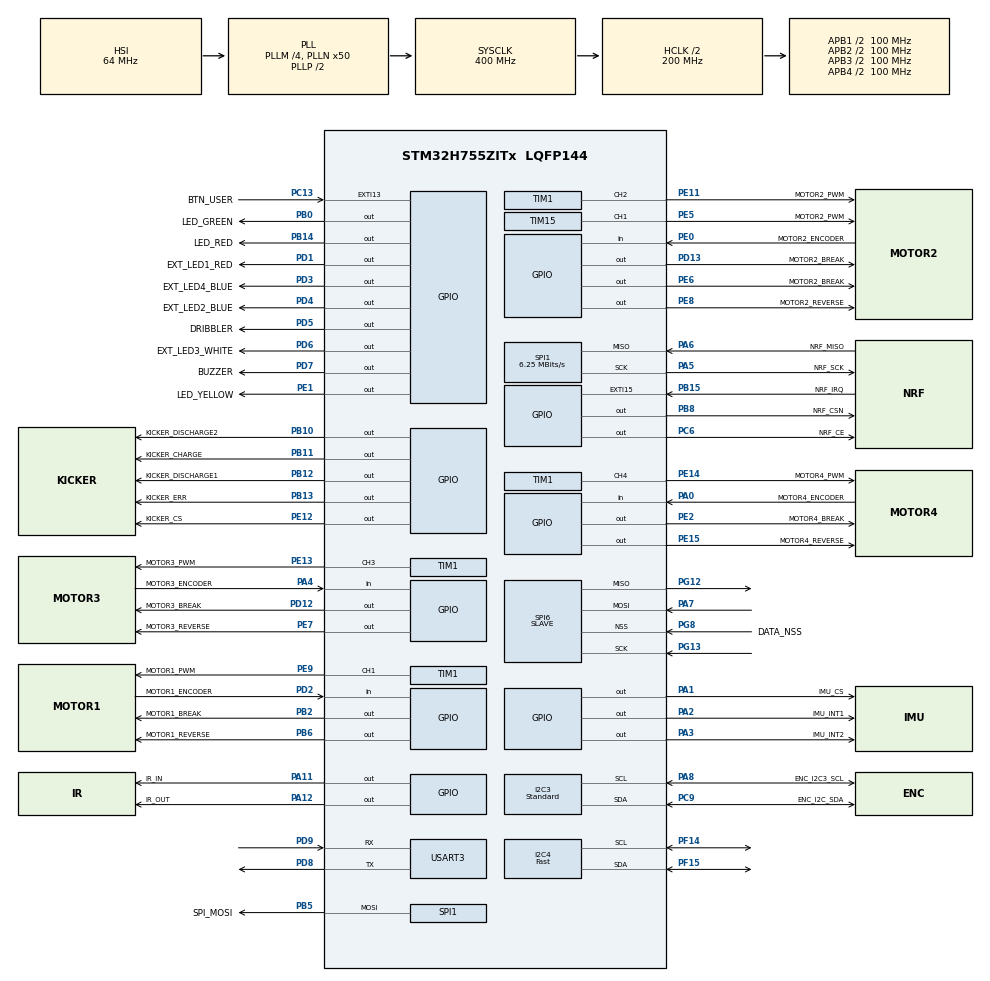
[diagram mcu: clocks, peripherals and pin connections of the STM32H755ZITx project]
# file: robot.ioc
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CortexM4.IPs=CORTEX_M4\:I,DEBUG,FATFS_M4\:I,FREERTOS_M4\:I,IWDG2\:I,OPENAMP_M4\:I,PDM2PCM_M4\:I,PWR,RCC,RESMGR_UTILITY,SYS_M4\:I,USB_DEVICE_M4\:I,USB_HOST_M4\:I,VREFBUF,WWDG2\:I,GPIO,DMA,BDMA,MDMA,NVIC2\:I
CortexM7.IPs=CORTEX_M7\:I,DEBUG\:I,FATFS_M7\:I,FREERTOS_M7\:I,IWDG1\:I,OPENAMP_M7\:I,PDM2PCM_M7\:I,PWR\:I,RCC\:I,RESMGR_UTILITY\:I,SYS\:I,USB_DEVICE_M7\:I,USB_HOST_M7\:I,VREFBUF\:I,WWDG1\:I,GPIO\:I,DMA\:I,BDMA\:I,MDMA\:I,NVIC1\:I,USART3\:I,ADC3\:I,TIM1\:I,SPI1\:I,TIM15\:I,TIM2\:I,I2C4\:I,TIM5\:I,TIM3\:I,TIM7\:I,TIM12\:I,SPI6\:I,I2C3\:I
CortexM7.Pins=PE2,PE6,PC13,PA0,PA1,PA2,PA3,PA4,PB0,PB2,PE7,PE8,PE12,PE15,PB10,PB11,PB12,PB13,PB14,PB15,PD12,PD13,PC6,PA11,PA12,PD1,PD2,PD3,PD4,PD5,PD6,PD7,PB6,PB8,PE0,PE1
I2C3.I2C_Speed_Mode=I2C_Standard
I2C3.Timing=0x10C0ECFF
I2C4.I2C_Speed_Mode=I2C_Fast
I2C4.Timing=0x009034B6
Mcu.Family=STM32H7
Mcu.Name=STM32H755ZITx
Mcu.Package=LQFP144
NVIC1.EXTI15_10_IRQn=true\:7\:0\:true\:false\:true\:true\:true\:true
NVIC1.PriorityGroup=NVIC_PRIORITYGROUP_4
NVIC1.SPI6_IRQn=true\:5\:0\:true\:false\:true\:true\:true\:true
NVIC1.TIM3_IRQn=true\:6\:0\:true\:false\:true\:true\:true\:true
NVIC1.TIM5_IRQn=true\:6\:0\:true\:false\:true\:true\:true\:true
NVIC1.TIM7_IRQn=true\:6\:0\:true\:false\:true\:true\:true\:true
NVIC1.TIM8_BRK_TIM12_IRQn=true\:6\:0\:true\:false\:true\:true\:true\:true
NVIC1.USART3_IRQn=true\:6\:0\:true\:false\:true\:true\:true\:true
NVIC2.PriorityGroup=NVIC_PRIORITYGROUP_4
PA0.GPIO_Label=MOTOR4_ENCODER
PA0.GPIO_PuPd=GPIO_PULLDOWN
PA0.PinAttribute=CortexM7
PA0.Signal=GPIO_Input
PA1.GPIO_Label=IMU_CS
PA1.PinAttribute=CortexM7
PA1.Signal=GPIO_Output
PA11.GPIO_Label=IR_IN
PA11.PinAttribute=CortexM7
PA11.Signal=GPIO_Output
PA12.GPIO_Label=IR_OUT
PA12.PinAttribute=CortexM7
PA12.Signal=GPIO_Output
PA2.GPIO_Label=IMU_INT1
PA2.PinAttribute=CortexM7
PA2.Signal=GPIO_Output
PA3.GPIO_Label=IMU_INT2
PA3.PinAttribute=CortexM7
PA3.Signal=GPIO_Output
PA4.GPIO_Label=MOTOR3_ENCODER
PA4.GPIO_PuPd=GPIO_NOPULL
PA4.PinAttribute=CortexM7
PA4.Signal=GPIO_Input
PA5.GPIO_Label=NRF_SCK
PA5.Mode=Full_Duplex_Master
PA5.PinAttribute=CortexM7
PA5.Signal=SPI1_SCK
PA6.GPIO_Label=NRF_MISO
PA6.Mode=Full_Duplex_Master
PA6.PinAttribute=CortexM7
PA6.Signal=SPI1_MISO
PA7.Mode=Full_Duplex_Slave
PA7.PinAttribute=CortexM7
PA7.Signal=SPI6_MOSI
PA8.GPIO_Label=ENC_I2C3_SCL
PA8.Mode=I2C
PA8.PinAttribute=CortexM7
PA8.Signal=I2C3_SCL
PB0.GPIO_Label=LED_GREEN
PB0.PinAttribute=CortexM7
PB0.Signal=GPIO_Output
PB10.GPIO_Label=KICKER_DISCHARGE2
PB10.PinAttribute=CortexM7
PB10.PinState=GPIO_PIN_SET
PB10.Signal=GPIO_Output
PB11.GPIO_Label=KICKER_CHARGE
PB11.PinAttribute=CortexM7
PB11.Signal=GPIO_Output
PB12.GPIO_Label=KICKER_DISCHARGE1
PB12.PinAttribute=CortexM7
PB12.PinState=GPIO_PIN_SET
PB12.Signal=GPIO_Output
PB13.GPIO_Label=KICKER_ERR
PB13.PinAttribute=CortexM7
PB13.Signal=GPIO_Output
PB14.GPIO_Label=LED_RED
PB14.PinAttribute=CortexM7
PB14.PinState=GPIO_PIN_RESET
PB14.Signal=GPIO_Output
PB15.GPIO_Label=NRF_IRQ
PB15.GPIO_ModeDefaultEXTI=GPIO_MODE_IT_FALLING
PB15.PinAttribute=CortexM7
PB15.Signal=GPXTI15
PB2.GPIO_Label=MOTOR1_BREAK
PB2.PinAttribute=CortexM7
PB2.Signal=GPIO_Output
PB5.GPIO_Label=SPI_MOSI
PB5.Mode=Full_Duplex_Master
PB5.PinAttribute=CortexM7
PB5.Signal=SPI1_MOSI
PB6.GPIO_Label=MOTOR1_REVERSE
PB6.PinAttribute=CortexM7
PB6.Signal=GPIO_Output
PB8.GPIO_Label=NRF_CSN
PB8.PinAttribute=CortexM7
PB8.Signal=GPIO_Output
PC13.GPIO_Label=BTN_USER
PC13.PinAttribute=CortexM7
PC13.Signal=GPXTI13
PC6.GPIO_Label=NRF_CE
PC6.PinAttribute=CortexM7
PC6.Signal=GPIO_Output
PC9.GPIO_Label=ENC_I2C_SDA
PC9.Mode=I2C
PC9.PinAttribute=CortexM7
PC9.Signal=I2C3_SDA
PD1.GPIO_Label=EXT_LED1_RED
PD1.PinAttribute=CortexM7
PD1.Signal=GPIO_Output
PD12.GPIO_Label=MOTOR3_BREAK
PD12.PinAttribute=CortexM7
PD12.Signal=GPIO_Output
PD13.GPIO_Label=MOTOR2_BREAK
PD13.PinAttribute=CortexM7
PD13.Signal=GPIO_Output
PD2.GPIO_Label=MOTOR1_ENCODER
PD2.GPIO_PuPd=GPIO_PULLDOWN
PD2.PinAttribute=CortexM7
PD2.Signal=GPIO_Input
PD3.GPIO_Label=EXT_LED4_BLUE
PD3.PinAttribute=CortexM7
PD3.Signal=GPIO_Output
PD4.GPIO_Label=EXT_LED2_BLUE
PD4.PinAttribute=CortexM7
PD4.Signal=GPIO_Output
PD5.GPIO_Label=DRIBBLER
PD5.PinAttribute=CortexM7
PD5.Signal=GPIO_Output
PD6.GPIO_Label=EXT_LED3_WHITE
PD6.PinAttribute=CortexM7
PD6.Signal=GPIO_Output
PD7.GPIO_Label=BUZZER
PD7.PinAttribute=CortexM7
PD7.Signal=GPIO_Output
PD8.GPIO_Speed=GPIO_SPEED_FREQ_LOW
PD8.Mode=Asynchronous
PD8.PinAttribute=CortexM7
PD8.Signal=USART3_TX
PD9.GPIO_Speed=GPIO_SPEED_FREQ_LOW
PD9.Mode=Asynchronous
PD9.PinAttribute=CortexM7
PD9.Signal=USART3_RX
PE0.GPIO_Label=MOTOR2_ENCODER
PE0.PinAttribute=CortexM7
PE0.Signal=GPIO_Input
PE1.GPIO_Label=LED_YELLOW
PE1.PinAttribute=CortexM7
PE1.PinState=GPIO_PIN_SET
PE1.Signal=GPIO_Output
PE11.GPIO_Label=MOTOR2_PWM
PE11.PinAttribute=CortexM7
PE11.Signal=S_TIM1_CH2
PE12.GPIO_Label=KICKER_CS
PE12.PinAttribute=CortexM7
PE12.Signal=GPIO_Output
PE13.GPIO_Label=MOTOR3_PWM
PE13.PinAttribute=CortexM7
PE13.Signal=S_TIM1_CH3
PE14.GPIO_Label=MOTOR4_PWM
PE14.PinAttribute=CortexM7
PE14.Signal=S_TIM1_CH4
PE15.GPIO_Label=MOTOR4_REVERSE
PE15.PinAttribute=CortexM7
PE15.Signal=GPIO_Output
PE2.GPIO_Label=MOTOR4_BREAK
PE2.PinAttribute=CortexM7
PE2.Signal=GPIO_Output
PE5.GPIO_Label=MOTOR2_PWM
PE5.PinAttribute=CortexM7
PE5.Signal=S_TIM15_CH1
PE6.GPIO_Label=MOTOR2_BREAK
PE6.PinAttribute=CortexM7
PE6.Signal=GPIO_Output
PE7.GPIO_Label=MOTOR3_REVERSE
PE7.PinAttribute=CortexM7
PE7.Signal=GPIO_Output
PE8.GPIO_Label=MOTOR2_REVERSE
PE8.PinAttribute=CortexM7
PE8.Signal=GPIO_Output
PE9.GPIO_Label=MOTOR1_PWM
PE9.PinAttribute=CortexM7
PE9.Signal=S_TIM1_CH1
PF14.Mode=I2C
PF14.PinAttribute=CortexM7
PF14.Signal=I2C4_SCL
PF15.Mode=I2C
PF15.PinAttribute=CortexM7
PF15.Signal=I2C4_SDA
PG12.Mode=Full_Duplex_Slave
PG12.PinAttribute=CortexM7
PG12.Signal=SPI6_MISO
PG13.Mode=Full_Duplex_Slave
PG13.PinAttribute=CortexM7
PG13.Signal=SPI6_SCK
PG8.GPIO_Label=DATA_NSS
PG8.Mode=NSS_Signal_Hard_Input
PG8.PinAttribute=CortexM7
PG8.Signal=SPI6_NSS
ProjectManager.HeapSize=M4-0x200,M7-0x200
ProjectManager.StackSize=M4-0x400,M7-0x400
ProjectManager.TargetToolchain=Makefile
RCC.ADCFreq_Value=129000000
RCC.APB1Freq_Value=100000000
RCC.APB2Freq_Value=100000000
RCC.APB3Freq_Value=100000000
RCC.APB4Freq_Value=100000000
RCC.CortexFreq_Value=400000000
RCC.D1PPRE=RCC_APB3_DIV2
RCC.D2PPRE1=RCC_APB1_DIV2
RCC.D2PPRE2=RCC_APB2_DIV2
RCC.D3PPRE=RCC_APB4_DIV2
RCC.DIVM1=4
RCC.DIVN1=50
RCC.DIVQ1=4
RCC.HCLKFreq_Value=200000000
RCC.HPRE=RCC_HCLK_DIV2
RCC.PLL2FRACN=0
RCC.PLL3FRACN=0
RCC.PLLFRACN=0
RCC.SYSCLKFreq_VALUE=400000000
RCC.SYSCLKSource=RCC_SYSCLKSOURCE_PLLCLK
RCC.USART234578CLockSelection=RCC_USART234578CLKSOURCE_HSI
RCC.USBFreq_Value=200000000
SH.S_TIM15_CH1.0=TIM15_CH1,PWM Generation1 CH1
SH.S_TIM1_CH1.0=TIM1_CH1,PWM Generation1 CH1
SH.S_TIM1_CH2.0=TIM1_CH2,PWM Generation2 CH2
SH.S_TIM1_CH3.0=TIM1_CH3,PWM Generation3 CH3
SH.S_TIM1_CH4.0=TIM1_CH4,PWM Generation4 CH4
SPI1.BaudRatePrescaler=SPI_BAUDRATEPRESCALER_32
SPI1.CalculateBaudRate=6.25 MBits/s
SPI1.DataSize=SPI_DATASIZE_8BIT
SPI1.Direction=SPI_DIRECTION_2LINES
SPI1.Mode=SPI_MODE_MASTER
SPI1.VirtualType=VM_MASTER
SPI6.CLKPhase=SPI_PHASE_2EDGE
SPI6.CLKPolarity=SPI_POLARITY_LOW
SPI6.DataSize=SPI_DATASIZE_8BIT
SPI6.Direction=SPI_DIRECTION_2LINES
SPI6.Mode=SPI_MODE_SLAVE
SPI6.VirtualNSS=VM_NSSHARD
SPI6.VirtualType=VM_SLAVE
SYS.userName=SYS_M7
TIM1.Channel-PWM\ Generation1\ CH1=TIM_CHANNEL_1
TIM1.Channel-PWM\ Generation2\ CH2=TIM_CHANNEL_2
TIM1.Channel-PWM\ Generation3\ CH3=TIM_CHANNEL_3
TIM1.Channel-PWM\ Generation4\ CH4=TIM_CHANNEL_4
TIM1.Period=1999
TIM1.Prescaler=0
TIM1.Pulse-PWM\ Generation1\ CH1=0
TIM1.Pulse-PWM\ Generation3\ CH3=0
TIM1.Pulse-PWM\ Generation4\ CH4=0
TIM12.Period=9999
TIM12.Prescaler=19
TIM15.Channel-PWM\ Generation1\ CH1=TIM_CHANNEL_1
TIM15.Period=1999
TIM3.Prescaler=9999
TIM5.Prescaler=399
TIM7.Period=39
TIM7.Prescaler=9999
USART3.ClockPrescaler=PRESCALER_DIV32
USART3.VirtualMode-Asynchronous=VM_ASYNC
VP_SYS_M4_VS_Systick.Mode=SysTick
VP_TIM12_VS_ClockSourceINT.Mode=Internal
VP_TIM12_VS_ClockSourceITR.Mode=TriggerSource_ITR0
VP_TIM3_VS_ClockSourceINT.Mode=Internal
VP_TIM3_VS_ClockSourceITR.Mode=TriggerSource_ITR2
VP_TIM5_VS_ClockSourceINT.Mode=Internal
VP_TIM5_VS_ClockSourceITR.Mode=TriggerSource_ITR2
VP_TIM7_VS_ClockSourceINT.Mode=Enable_Timer
board=custom

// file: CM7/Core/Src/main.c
/* USER CODE BEGIN Header */
/**
 ******************************************************************************
 * @file           : main.c
 * @brief          : Main program body
 ******************************************************************************
 * @attention
 *
 * Copyright (c) 2023 STMicroelectronics.
 * All rights reserved.
 *
 * This software is licensed under terms that can be found in the LICENSE file
 * in the root directory of this software component.
 * If no LICENSE file comes with this software, it is provided AS-IS.
 *
 ******************************************************************************
 */
/* USER CODE END Header */
#include "main.h"

/* USER CODE BEGIN Includes */
#include "com.h"
#include "imu.h"
#include "imu.pb.h"
#include "data_logging.h"
#include "kicker.h"
#include "log.h"
#include "motor.h"
#include "nav.h"
#include "pos_follow.h"
#include "common.h"
#include "state_estimator.h"
#include "stm32h7xx_hal.h"
#include "stm32h7xx_hal_gpio.h"
#include "stm32h7xx_it.h"
#include "ui.h"
#include <stdint.h>
/* USER CODE END Includes */

/* USER CODE BEGIN PD */
#ifndef HSEM_ID_0
#define HSEM_ID_0 (0U) /* HW semaphore 0*/
#endif
/* USER CODE END PD */

I2C_HandleTypeDef hi2c3;
I2C_HandleTypeDef hi2c4;

SPI_HandleTypeDef hspi1;
SPI_HandleTypeDef hspi6;

TIM_HandleTypeDef htim1;
TIM_HandleTypeDef htim3;
TIM_HandleTypeDef htim5;
TIM_HandleTypeDef htim7;
TIM_HandleTypeDef htim12;
TIM_HandleTypeDef htim15;

UART_HandleTypeDef huart3;

/* USER CODE BEGIN PV */

I2C_HandleTypeDef hi2c4; // For IMU

/**
 * Used to set tasks to be performed within the main
 * loop of the firmware. It's written to whenever we
 * want to queue such a task (see com.c).
 */
volatile atomic_uint main_tasks;

volatile atomic_uint connected = 0;

uint8_t NRF_AVAILABLE = 0;

static LOG_Module internal_log_mod;
/* USER CODE END PV */

void SystemClock_Config(void);
static void MX_GPIO_Init(void);
static void MX_USART3_UART_Init(void);
static void MX_TIM1_Init(void);
static void MX_SPI1_Init(void);
static void MX_TIM12_Init(void);
static void MX_TIM15_Init(void);
static void MX_I2C4_Init(void);
static void MX_TIM5_Init(void);
static void MX_TIM3_Init(void);
static void MX_TIM7_Init(void);
static void MX_SPI6_Init(void);
static void MX_I2C3_Init(void);
/* USER CODE BEGIN PFP */

static void I2C4_Init(void);

/* USER CODE END PFP */

/* USER CODE BEGIN 0 */
// Handle callbacks
void HAL_GPIO_EXTI_Callback(uint16_t GPIO_Pin)
{
    __disable_irq();
    switch (GPIO_Pin) {
    case BTN_USER_Pin:
        COM_RF_PrintInfo();
        break;
    case NRF_IRQ_Pin:
        COM_RF_HandleIRQ();
        break;
    default:
        LOG_WARNING("Unhandled interrupt on pin %d...\r\n", GPIO_Pin);
        break;
    }
    __enable_irq();
}

void HAL_TIM_PeriodElapsedCallback(TIM_HandleTypeDef* htim)
{
    /* USER CODE BEGIN Callback 0 */

    /* USER CODE END Callback 0 */
    if (htim->Instance == TIM5) {
        KICKER_ChargeStop();
        KICKER_KickStart();
    }

    if (htim->Instance == TIM3) {
        KICKER_KickStop();
    }
    if (htim->Instance == TIM7) {
        NAV_update_motor_state();
    }

    if (htim->Instance == TIM12) {
        NAV_MovementUpdate();
    }

    /* USER CODE BEGIN Callback 1 */

    /* USER CODE END Callback 1 */
}

void HAL_UART_RxCpltCallback(UART_HandleTypeDef* huart) { UI_RxCallback(); }
/* USER CODE END 0 */

int main(void)
{
/* USER CODE BEGIN Boot_Mode_Sequence_0 */

/* USER CODE END Boot_Mode_Sequence_0 */

/* USER CODE BEGIN Boot_Mode_Sequence_1 */

/* USER CODE END Boot_Mode_Sequence_1 */
  /* MCU Configuration--------------------------------------------------------*/

  /* Reset of all peripherals, Initializes the Flash interface and the Systick. */
  HAL_Init();

  /* Configure the system clock */
  SystemClock_Config();
/* USER CODE BEGIN Boot_Mode_Sequence_2 */
    /* When system initialization is finished, Cortex-M7 will release Cortex-M4 by
    means of HSEM notification */
    /*HW semaphore Clock enable*/
    __HAL_RCC_HSEM_CLK_ENABLE();
    /*Take HSEM */
    HAL_HSEM_FastTake(HSEM_ID_0);
    /*Release HSEM in order to notify the CPU2(CM4)*/
    HAL_HSEM_Release(HSEM_ID_0, 0);
    /* wait until CPU2 wakes up from stop mode */
    int32_t timeout = 0xFFFF;
    while ((__HAL_RCC_GET_FLAG(RCC_FLAG_D2CKRDY) == RESET) && (timeout-- > 0))
        ;
    if (timeout < 0) {
        Error_Handler();
    }
/* USER CODE END Boot_Mode_Sequence_2 */

  /* Initialize all configured peripherals */
  MX_GPIO_Init();
  MX_USART3_UART_Init();
  MX_TIM1_Init();
  MX_SPI1_Init();
  MX_TIM12_Init();
  MX_TIM15_Init();
  MX_I2C4_Init();
  MX_TIM5_Init();
  MX_TIM3_Init();
  MX_TIM7_Init();
  MX_SPI6_Init();
  MX_I2C3_Init();
  /* USER CODE BEGIN 2 */

    // Initialise modules
    LOG_Init(&huart3);
    LOG_InitModule(&internal_log_mod, "MAIN", LOG_LEVEL_INFO, 0);
    if (COM_Get_ID() == 255) {
     // LOG_INFO("ID is unknown (%i, serial %li %li %li)\r\n", COM_Get_ID(), HAL_GetUIDw0(), HAL_GetUIDw1(), HAL_GetUIDw2());
    } else {
     // LOG_INFO("ID is %i (serial %li %li %li)\r\n", COM_Get_ID(), HAL_GetUIDw0(), HAL_GetUIDw1(), HAL_GetUIDw2());
    }
    POS_Init();
    NAV_Init(&htim7, &htim1, &htim15);
    MOTOR_Init(&htim1, &hi2c3);
    DATA_Init(&hspi6);
    KICKER_Init(&htim5, &htim3);
    IMU_Init(&hi2c4);
    STATE_Init();
    UI_Init(&huart3);
    ITR_Init();
    LOG_INFO("Discharging kicker\r\n");
    const int DISCHARGE_AMNT = 10;
    COMMON_buzzer_warning_with_delay();

    for (int i = 0; i < DISCHARGE_AMNT; i++)
    {
     if (i % 20 == 0)
     {
         LOG_INFO("Discharging %d of %d\r\n",i, DISCHARGE_AMNT - 1);
     }

        KICKER_KickSafe();
        HAL_Delay(40);
    }

    int32_t speeds[4] = { 0 };
    while (true) {
        LOG_INFO("test\r\n");
        // MOTOR_GetEncoderSpeeds(speeds);
        LOG_INFO("speed0: %d, speed1: %d, speed2: %d, speed3: %d\r\n", speeds[0], speeds[1], speeds[2], speeds[3]);
        HAL_Delay(1000);
    }

    STATE_calibrate_imu_gyr();
    HAL_TIM_Base_Start_IT(&htim12);

    COM_Init(&hspi1, &NRF_AVAILABLE);

    if(NRF_AVAILABLE){
        HAL_GPIO_WritePin(LED_GREEN_GPIO_Port, LED_GREEN_Pin, GPIO_PIN_SET);
    }

    HAL_GPIO_WritePin(LED_YELLOW_GPIO_Port, LED_YELLOW_Pin, GPIO_PIN_RESET);

    LOG_INFO("Data sample is %d bytes of max 255\r\n", sizeof(data_sample));
    LOG_INFO("Startup done\r\n");
    COMMON_buzzer_done();
  /* USER CODE END 2 */

  /* Infinite loop */
  /* USER CODE BEGIN WHILE */

    uint32_t now = HAL_GetTick();
    bool on = false;

    NAV_StopDribbler();
    float out[3];
    while (1) {

        DATA_log_state(STATE_get_posx(), STATE_get_posy(), STATE_get_robot_angle());
        if (HAL_GPIO_ReadPin(DATA_NSS_GPIO_Port, DATA_NSS_Pin) == GPIO_PIN_SET)
        {
            // When NSS goes high spi transfer ready for another data dump
            DATA_spi_send();
        }

    /* USER CODE END WHILE */

    }
}

void SystemClock_Config(void)
{
  RCC_OscInitTypeDef RCC_OscInitStruct = {0};
  RCC_ClkInitTypeDef RCC_ClkInitStruct = {0};

  /** Supply configuration update enable
  */
  HAL_PWREx_ConfigSupply(PWR_DIRECT_SMPS_SUPPLY);

  /** Configure the main internal regulator output voltage
  */
  __HAL_PWR_VOLTAGESCALING_CONFIG(PWR_REGULATOR_VOLTAGE_SCALE1);

  while(!__HAL_PWR_GET_FLAG(PWR_FLAG_VOSRDY)) {}

  /** Initializes the RCC Oscillators according to the specified parameters
  * in the RCC_OscInitTypeDef structure.
  */
  RCC_OscInitStruct.OscillatorType = RCC_OSCILLATORTYPE_HSI;
  RCC_OscInitStruct.HSIState = RCC_HSI_DIV1;
  RCC_OscInitStruct.HSICalibrationValue = RCC_HSICALIBRATION_DEFAULT;
  RCC_OscInitStruct.PLL.PLLState = RCC_PLL_ON;
  RCC_OscInitStruct.PLL.PLLSource = RCC_PLLSOURCE_HSI;
  RCC_OscInitStruct.PLL.PLLM = 4;
  RCC_OscInitStruct.PLL.PLLN = 50;
  RCC_OscInitStruct.PLL.PLLP = 2;
  RCC_OscInitStruct.PLL.PLLQ = 4;
  RCC_OscInitStruct.PLL.PLLR = 2;
  RCC_OscInitStruct.PLL.PLLRGE = RCC_PLL1VCIRANGE_3;
  RCC_OscInitStruct.PLL.PLLVCOSEL = RCC_PLL1VCOWIDE;
  RCC_OscInitStruct.PLL.PLLFRACN = 0;
  if (HAL_RCC_OscConfig(&RCC_OscInitStruct) != HAL_OK)
  {
    Error_Handler();
  }

  /** Initializes the CPU, AHB and APB buses clocks
  */
  RCC_ClkInitStruct.ClockType = RCC_CLOCKTYPE_HCLK|RCC_CLOCKTYPE_SYSCLK
                              |RCC_CLOCKTYPE_PCLK1|RCC_CLOCKTYPE_PCLK2
                              |RCC_CLOCKTYPE_D3PCLK1|RCC_CLOCKTYPE_D1PCLK1;
  RCC_ClkInitStruct.SYSCLKSource = RCC_SYSCLKSOURCE_PLLCLK;
  RCC_ClkInitStruct.SYSCLKDivider = RCC_SYSCLK_DIV1;
  RCC_ClkInitStruct.AHBCLKDivider = RCC_HCLK_DIV2;
  RCC_ClkInitStruct.APB3CLKDivider = RCC_APB3_DIV2;
  RCC_ClkInitStruct.APB1CLKDivider = RCC_APB1_DIV2;
  RCC_ClkInitStruct.APB2CLKDivider = RCC_APB2_DIV2;
  RCC_ClkInitStruct.APB4CLKDivider = RCC_APB4_DIV2;

  if (HAL_RCC_ClockConfig(&RCC_ClkInitStruct, FLASH_LATENCY_2) != HAL_OK)
  {
    Error_Handler();
  }
}

static void MX_I2C3_Init(void)
{

  hi2c3.Instance = I2C3;
  hi2c3.Init.Timing = 0x10C0ECFF;
  hi2c3.Init.OwnAddress1 = 0;
  hi2c3.Init.AddressingMode = I2C_ADDRESSINGMODE_7BIT;
  hi2c3.Init.DualAddressMode = I2C_DUALADDRESS_DISABLE;
  hi2c3.Init.OwnAddress2 = 0;
  hi2c3.Init.OwnAddress2Masks = I2C_OA2_NOMASK;
  hi2c3.Init.GeneralCallMode = I2C_GENERALCALL_DISABLE;
  hi2c3.Init.NoStretchMode = I2C_NOSTRETCH_DISABLE;
  if (HAL_I2C_Init(&hi2c3) != HAL_OK)
  {
    Error_Handler();
  }

  /** Configure Analogue filter
  */
  if (HAL_I2CEx_ConfigAnalogFilter(&hi2c3, I2C_ANALOGFILTER_ENABLE) != HAL_OK)
  {
    Error_Handler();
  }

  /** Configure Digital filter
  */
  if (HAL_I2CEx_ConfigDigitalFilter(&hi2c3, 0) != HAL_OK)
  {
    Error_Handler();
  }

}

static void MX_I2C4_Init(void)
{

  /* USER CODE BEGIN I2C4_Init 0 */
    /* Initialize I2C for IMU */
    __HAL_RCC_I2C4_CLK_ENABLE();

    hi2c4.Instance = I2C4;
    hi2c4.Init.Timing = 0x009034B6; // 0x10C0ECFF;
    hi2c4.Init.OwnAddress1 = 0;
    hi2c4.Init.AddressingMode = I2C_ADDRESSINGMODE_7BIT;
    hi2c4.Init.DualAddressMode = I2C_DUALADDRESS_DISABLE;
    hi2c4.Init.GeneralCallMode = I2C_GENERALCALL_DISABLE;
    hi2c4.Init.NoStretchMode = I2C_NOSTRETCH_DISABLE;

    if (HAL_I2C_Init(&hi2c4) != HAL_OK) {
        Error_Handler();
    }

    if (HAL_I2CEx_ConfigAnalogFilter(&hi2c4, I2C_ANALOGFILTER_ENABLE) != HAL_OK) {
        Error_Handler();
    }

    if (HAL_I2CEx_ConfigDigitalFilter(&hi2c4, 0) != HAL_OK) {
        Error_Handler();
    }
  /* USER CODE END I2C4_Init 0 */

  hi2c4.Instance = I2C4;
  hi2c4.Init.Timing = 0x009034B6;
  hi2c4.Init.OwnAddress1 = 0;
  hi2c4.Init.AddressingMode = I2C_ADDRESSINGMODE_7BIT;
  hi2c4.Init.DualAddressMode = I2C_DUALADDRESS_DISABLE;
  hi2c4.Init.OwnAddress2 = 0;
  hi2c4.Init.OwnAddress2Masks = I2C_OA2_NOMASK;
  hi2c4.Init.GeneralCallMode = I2C_GENERALCALL_DISABLE;
  hi2c4.Init.NoStretchMode = I2C_NOSTRETCH_DISABLE;
  if (HAL_I2C_Init(&hi2c4) != HAL_OK)
  {
    Error_Handler();
  }

  /** Configure Analogue filter
  */
  if (HAL_I2CEx_ConfigAnalogFilter(&hi2c4, I2C_ANALOGFILTER_ENABLE) != HAL_OK)
  {
    Error_Handler();
  }

  /** Configure Digital filter
  */
  if (HAL_I2CEx_ConfigDigitalFilter(&hi2c4, 0) != HAL_OK)
  {
    Error_Handler();
  }

}

static void MX_SPI1_Init(void)
{

  /* SPI1 parameter configuration*/
  hspi1.Instance = SPI1;
  hspi1.Init.Mode = SPI_MODE_MASTER;
  hspi1.Init.Direction = SPI_DIRECTION_2LINES;
  hspi1.Init.DataSize = SPI_DATASIZE_8BIT;
  hspi1.Init.CLKPolarity = SPI_POLARITY_LOW;
  hspi1.Init.CLKPhase = SPI_PHASE_1EDGE;
  hspi1.Init.NSS = SPI_NSS_SOFT;
  hspi1.Init.BaudRatePrescaler = SPI_BAUDRATEPRESCALER_32;
  hspi1.Init.FirstBit = SPI_FIRSTBIT_MSB;
  hspi1.Init.TIMode = SPI_TIMODE_DISABLE;
  hspi1.Init.CRCCalculation = SPI_CRCCALCULATION_DISABLE;
  hspi1.Init.CRCPolynomial = 0x0;
  hspi1.Init.NSSPMode = SPI_NSS_PULSE_ENABLE;
  hspi1.Init.NSSPolarity = SPI_NSS_POLARITY_LOW;
  hspi1.Init.FifoThreshold = SPI_FIFO_THRESHOLD_01DATA;
  hspi1.Init.TxCRCInitializationPattern = SPI_CRC_INITIALIZATION_ALL_ZERO_PATTERN;
  hspi1.Init.RxCRCInitializationPattern = SPI_CRC_INITIALIZATION_ALL_ZERO_PATTERN;
  hspi1.Init.MasterSSIdleness = SPI_MASTER_SS_IDLENESS_00CYCLE;
  hspi1.Init.MasterInterDataIdleness = SPI_MASTER_INTERDATA_IDLENESS_00CYCLE;
  hspi1.Init.MasterReceiverAutoSusp = SPI_MASTER_RX_AUTOSUSP_DISABLE;
  hspi1.Init.MasterKeepIOState = SPI_MASTER_KEEP_IO_STATE_DISABLE;
  hspi1.Init.IOSwap = SPI_IO_SWAP_DISABLE;
  if (HAL_SPI_Init(&hspi1) != HAL_OK)
  {
    Error_Handler();
  }

}

static void MX_SPI6_Init(void)
{

  /* SPI6 parameter configuration*/
  hspi6.Instance = SPI6;
  hspi6.Init.Mode = SPI_MODE_SLAVE;
  hspi6.Init.Direction = SPI_DIRECTION_2LINES;
  hspi6.Init.DataSize = SPI_DATASIZE_8BIT;
  hspi6.Init.CLKPolarity = SPI_POLARITY_LOW;
  hspi6.Init.CLKPhase = SPI_PHASE_2EDGE;
  hspi6.Init.NSS = SPI_NSS_HARD_INPUT;
  hspi6.Init.FirstBit = SPI_FIRSTBIT_MSB;
  hspi6.Init.TIMode = SPI_TIMODE_DISABLE;
  hspi6.Init.CRCCalculation = SPI_CRCCALCULATION_DISABLE;
  hspi6.Init.CRCPolynomial = 0x0;
  hspi6.Init.NSSPMode = SPI_NSS_PULSE_DISABLE;
  hspi6.Init.NSSPolarity = SPI_NSS_POLARITY_LOW;
  hspi6.Init.FifoThreshold = SPI_FIFO_THRESHOLD_01DATA;
  hspi6.Init.TxCRCInitializationPattern = SPI_CRC_INITIALIZATION_ALL_ZERO_PATTERN;
  hspi6.Init.RxCRCInitializationPattern = SPI_CRC_INITIALIZATION_ALL_ZERO_PATTERN;
  hspi6.Init.MasterSSIdleness = SPI_MASTER_SS_IDLENESS_00CYCLE;
  hspi6.Init.MasterInterDataIdleness = SPI_MASTER_INTERDATA_IDLENESS_00CYCLE;
  hspi6.Init.MasterReceiverAutoSusp = SPI_MASTER_RX_AUTOSUSP_DISABLE;
  hspi6.Init.MasterKeepIOState = SPI_MASTER_KEEP_IO_STATE_DISABLE;
  hspi6.Init.IOSwap = SPI_IO_SWAP_DISABLE;
  if (HAL_SPI_Init(&hspi6) != HAL_OK)
  {
    Error_Handler();
  }

}

static void MX_TIM1_Init(void)
{

  TIM_MasterConfigTypeDef sMasterConfig = {0};
  TIM_OC_InitTypeDef sConfigOC = {0};
  TIM_BreakDeadTimeConfigTypeDef sBreakDeadTimeConfig = {0};

  htim1.Instance = TIM1;
  htim1.Init.Prescaler = 0;
  htim1.Init.CounterMode = TIM_COUNTERMODE_UP;
  htim1.Init.Period = 1999;
  htim1.Init.ClockDivision = TIM_CLOCKDIVISION_DIV1;
  htim1.Init.RepetitionCounter = 0;
  htim1.Init.AutoReloadPreload = TIM_AUTORELOAD_PRELOAD_DISABLE;
  if (HAL_TIM_PWM_Init(&htim1) != HAL_OK)
  {
    Error_Handler();
  }
  sMasterConfig.MasterOutputTrigger = TIM_TRGO_RESET;
  sMasterConfig.MasterOutputTrigger2 = TIM_TRGO2_RESET;
  sMasterConfig.MasterSlaveMode = TIM_MASTERSLAVEMODE_DISABLE;
  if (HAL_TIMEx_MasterConfigSynchronization(&htim1, &sMasterConfig) != HAL_OK)
  {
    Error_Handler();
  }
  sConfigOC.OCMode = TIM_OCMODE_PWM1;
  sConfigOC.Pulse = 0;
  sConfigOC.OCPolarity = TIM_OCPOLARITY_HIGH;
  sConfigOC.OCNPolarity = TIM_OCNPOLARITY_HIGH;
  sConfigOC.OCFastMode = TIM_OCFAST_DISABLE;
  sConfigOC.OCIdleState = TIM_OCIDLESTATE_RESET;
  sConfigOC.OCNIdleState = TIM_OCNIDLESTATE_RESET;
  if (HAL_TIM_PWM_ConfigChannel(&htim1, &sConfigOC, TIM_CHANNEL_1) != HAL_OK)
  {
    Error_Handler();
  }
  if (HAL_TIM_PWM_ConfigChannel(&htim1, &sConfigOC, TIM_CHANNEL_2) != HAL_OK)
  {
    Error_Handler();
  }
  if (HAL_TIM_PWM_ConfigChannel(&htim1, &sConfigOC, TIM_CHANNEL_3) != HAL_OK)
  {
    Error_Handler();
  }
  if (HAL_TIM_PWM_ConfigChannel(&htim1, &sConfigOC, TIM_CHANNEL_4) != HAL_OK)
  {
    Error_Handler();
  }
  sBreakDeadTimeConfig.OffStateRunMode = TIM_OSSR_DISABLE;
  sBreakDeadTimeConfig.OffStateIDLEMode = TIM_OSSI_DISABLE;
  sBreakDeadTimeConfig.LockLevel = TIM_LOCKLEVEL_OFF;
  sBreakDeadTimeConfig.DeadTime = 0;
  sBreakDeadTimeConfig.BreakState = TIM_BREAK_DISABLE;
  sBreakDeadTimeConfig.BreakPolarity = TIM_BREAKPOLARITY_HIGH;
  sBreakDeadTimeConfig.BreakFilter = 0;
  sBreakDeadTimeConfig.Break2State = TIM_BREAK2_DISABLE;
  sBreakDeadTimeConfig.Break2Polarity = TIM_BREAK2POLARITY_HIGH;
  sBreakDeadTimeConfig.Break2Filter = 0;
  sBreakDeadTimeConfig.AutomaticOutput = TIM_AUTOMATICOUTPUT_DISABLE;
  if (HAL_TIMEx_ConfigBreakDeadTime(&htim1, &sBreakDeadTimeConfig) != HAL_OK)
  {
    Error_Handler();
  }
  HAL_TIM_MspPostInit(&htim1);

}

static void MX_TIM3_Init(void)
{

  TIM_ClockConfigTypeDef sClockSourceConfig = {0};
  TIM_SlaveConfigTypeDef sSlaveConfig = {0};
  TIM_MasterConfigTypeDef sMasterConfig = {0};

  htim3.Instance = TIM3;
  htim3.Init.Prescaler = 9999;
  htim3.Init.CounterMode = TIM_COUNTERMODE_UP;
  htim3.Init.Period = 65535;
  htim3.Init.ClockDivision = TIM_CLOCKDIVISION_DIV1;
  htim3.Init.AutoReloadPreload = TIM_AUTORELOAD_PRELOAD_DISABLE;
  if (HAL_TIM_Base_Init(&htim3) != HAL_OK)
  {
    Error_Handler();
  }
  sClockSourceConfig.ClockSource = TIM_CLOCKSOURCE_INTERNAL;
  if (HAL_TIM_ConfigClockSource(&htim3, &sClockSourceConfig) != HAL_OK)
  {
    Error_Handler();
  }
  sSlaveConfig.SlaveMode = TIM_SLAVEMODE_DISABLE;
  sSlaveConfig.InputTrigger = TIM_TS_ITR2;
  if (HAL_TIM_SlaveConfigSynchro(&htim3, &sSlaveConfig) != HAL_OK)
  {
    Error_Handler();
  }
  sMasterConfig.MasterOutputTrigger = TIM_TRGO_RESET;
  sMasterConfig.MasterSlaveMode = TIM_MASTERSLAVEMODE_DISABLE;
  if (HAL_TIMEx_MasterConfigSynchronization(&htim3, &sMasterConfig) != HAL_OK)
  {
    Error_Handler();
  }

}

static void MX_TIM5_Init(void)
{

  TIM_ClockConfigTypeDef sClockSourceConfig = {0};
  TIM_SlaveConfigTypeDef sSlaveConfig = {0};
  TIM_MasterConfigTypeDef sMasterConfig = {0};

  htim5.Instance = TIM5;
  htim5.Init.Prescaler = 399;
  htim5.Init.CounterMode = TIM_COUNTERMODE_UP;
  htim5.Init.Period = 4294967295;
  htim5.Init.ClockDivision = TIM_CLOCKDIVISION_DIV1;
  htim5.Init.AutoReloadPreload = TIM_AUTORELOAD_PRELOAD_DISABLE;
  if (HAL_TIM_Base_Init(&htim5) != HAL_OK)
  {
    Error_Handler();
  }
  sClockSourceConfig.ClockSource = TIM_CLOCKSOURCE_INTERNAL;
  if (HAL_TIM_ConfigClockSource(&htim5, &sClockSourceConfig) != HAL_OK)
  {
    Error_Handler();
  }
  sSlaveConfig.SlaveMode = TIM_SLAVEMODE_DISABLE;
  sSlaveConfig.InputTrigger = TIM_TS_ITR2;
  if (HAL_TIM_SlaveConfigSynchro(&htim5, &sSlaveConfig) != HAL_OK)
  {
    Error_Handler();
  }
  sMasterConfig.MasterOutputTrigger = TIM_TRGO_RESET;
  sMasterConfig.MasterSlaveMode = TIM_MASTERSLAVEMODE_DISABLE;
  if (HAL_TIMEx_MasterConfigSynchronization(&htim5, &sMasterConfig) != HAL_OK)
  {
    Error_Handler();
  }

}

static void MX_TIM7_Init(void)
{

  TIM_MasterConfigTypeDef sMasterConfig = {0};

  htim7.Instance = TIM7;
  htim7.Init.Prescaler = 9999;
  htim7.Init.CounterMode = TIM_COUNTERMODE_UP;
  htim7.Init.Period = 39;
  htim7.Init.AutoReloadPreload = TIM_AUTORELOAD_PRELOAD_DISABLE;
  if (HAL_TIM_Base_Init(&htim7) != HAL_OK)
  {
    Error_Handler();
  }
  sMasterConfig.MasterOutputTrigger = TIM_TRGO_RESET;
  sMasterConfig.MasterSlaveMode = TIM_MASTERSLAVEMODE_DISABLE;
  if (HAL_TIMEx_MasterConfigSynchronization(&htim7, &sMasterConfig) != HAL_OK)
  {
    Error_Handler();
  }

}

static void MX_TIM12_Init(void)
{

  TIM_ClockConfigTypeDef sClockSourceConfig = {0};
  TIM_SlaveConfigTypeDef sSlaveConfig = {0};
  TIM_MasterConfigTypeDef sMasterConfig = {0};

  htim12.Instance = TIM12;
  htim12.Init.Prescaler = 19;
  htim12.Init.CounterMode = TIM_COUNTERMODE_UP;
  htim12.Init.Period = 9999;
  htim12.Init.ClockDivision = TIM_CLOCKDIVISION_DIV1;
  htim12.Init.AutoReloadPreload = TIM_AUTORELOAD_PRELOAD_DISABLE;
  if (HAL_TIM_Base_Init(&htim12) != HAL_OK)
  {
    Error_Handler();
  }
  sClockSourceConfig.ClockSource = TIM_CLOCKSOURCE_INTERNAL;
  if (HAL_TIM_ConfigClockSource(&htim12, &sClockSourceConfig) != HAL_OK)
  {
    Error_Handler();
  }
  sSlaveConfig.SlaveMode = TIM_SLAVEMODE_DISABLE;
  sSlaveConfig.InputTrigger = TIM_TS_ITR0;
  if (HAL_TIM_SlaveConfigSynchro(&htim12, &sSlaveConfig) != HAL_OK)
  {
    Error_Handler();
  }
  sMasterConfig.MasterOutputTrigger = TIM_TRGO_RESET;
  sMasterConfig.MasterSlaveMode = TIM_MASTERSLAVEMODE_DISABLE;
  if (HAL_TIMEx_MasterConfigSynchronization(&htim12, &sMasterConfig) != HAL_OK)
  {
    Error_Handler();
  }

}

static void MX_TIM15_Init(void)
{

  TIM_MasterConfigTypeDef sMasterConfig = {0};
  TIM_OC_InitTypeDef sConfigOC = {0};
  TIM_BreakDeadTimeConfigTypeDef sBreakDeadTimeConfig = {0};

  htim15.Instance = TIM15;
  htim15.Init.Prescaler = 0;
  htim15.Init.CounterMode = TIM_COUNTERMODE_UP;
  htim15.Init.Period = 1999;
  htim15.Init.ClockDivision = TIM_CLOCKDIVISION_DIV1;
  htim15.Init.RepetitionCounter = 0;
  htim15.Init.AutoReloadPreload = TIM_AUTORELOAD_PRELOAD_DISABLE;
  if (HAL_TIM_PWM_Init(&htim15) != HAL_OK)
  {
    Error_Handler();
  }
  sMasterConfig.MasterOutputTrigger = TIM_TRGO_RESET;
  sMasterConfig.MasterSlaveMode = TIM_MASTERSLAVEMODE_DISABLE;
  if (HAL_TIMEx_MasterConfigSynchronization(&htim15, &sMasterConfig) != HAL_OK)
  {
    Error_Handler();
  }
  sConfigOC.OCMode = TIM_OCMODE_PWM1;
  sConfigOC.Pulse = 0;
  sConfigOC.OCPolarity = TIM_OCPOLARITY_HIGH;
  sConfigOC.OCNPolarity = TIM_OCNPOLARITY_HIGH;
  sConfigOC.OCFastMode = TIM_OCFAST_DISABLE;
  sConfigOC.OCIdleState = TIM_OCIDLESTATE_RESET;
  sConfigOC.OCNIdleState = TIM_OCNIDLESTATE_RESET;
  if (HAL_TIM_PWM_ConfigChannel(&htim15, &sConfigOC, TIM_CHANNEL_1) != HAL_OK)
  {
    Error_Handler();
  }
  sBreakDeadTimeConfig.OffStateRunMode = TIM_OSSR_DISABLE;
  sBreakDeadTimeConfig.OffStateIDLEMode = TIM_OSSI_DISABLE;
  sBreakDeadTimeConfig.LockLevel = TIM_LOCKLEVEL_OFF;
  sBreakDeadTimeConfig.DeadTime = 0;
  sBreakDeadTimeConfig.BreakState = TIM_BREAK_DISABLE;
  sBreakDeadTimeConfig.BreakPolarity = TIM_BREAKPOLARITY_HIGH;
  sBreakDeadTimeConfig.BreakFilter = 0;
  sBreakDeadTimeConfig.AutomaticOutput = TIM_AUTOMATICOUTPUT_DISABLE;
  if (HAL_TIMEx_ConfigBreakDeadTime(&htim15, &sBreakDeadTimeConfig) != HAL_OK)
  {
    Error_Handler();
  }
  HAL_TIM_MspPostInit(&htim15);

}

static void MX_USART3_UART_Init(void)
{

  huart3.Instance = USART3;
  huart3.Init.BaudRate = 115200;
  huart3.Init.WordLength = UART_WORDLENGTH_8B;
  huart3.Init.StopBits = UART_STOPBITS_1;
  huart3.Init.Parity = UART_PARITY_NONE;
  huart3.Init.Mode = UART_MODE_TX_RX;
  huart3.Init.HwFlowCtl = UART_HWCONTROL_NONE;
  huart3.Init.OverSampling = UART_OVERSAMPLING_16;
  huart3.Init.OneBitSampling = UART_ONE_BIT_SAMPLE_DISABLE;
  huart3.Init.ClockPrescaler = UART_PRESCALER_DIV32;
  huart3.AdvancedInit.AdvFeatureInit = UART_ADVFEATURE_NO_INIT;
  if (HAL_UART_Init(&huart3) != HAL_OK)
  {
    Error_Handler();
  }
  if (HAL_UARTEx_SetTxFifoThreshold(&huart3, UART_TXFIFO_THRESHOLD_1_8) != HAL_OK)
  {
    Error_Handler();
  }
  if (HAL_UARTEx_SetRxFifoThreshold(&huart3, UART_RXFIFO_THRESHOLD_1_8) != HAL_OK)
  {
    Error_Handler();
  }
  if (HAL_UARTEx_DisableFifoMode(&huart3) != HAL_OK)
  {
    Error_Handler();
  }

}

static void MX_GPIO_Init(void)
{
  GPIO_InitTypeDef GPIO_InitStruct = {0};

  /* GPIO Ports Clock Enable */
  __HAL_RCC_GPIOE_CLK_ENABLE();
  __HAL_RCC_GPIOC_CLK_ENABLE();
  __HAL_RCC_GPIOA_CLK_ENABLE();
  __HAL_RCC_GPIOB_CLK_ENABLE();
  __HAL_RCC_GPIOF_CLK_ENABLE();
  __HAL_RCC_GPIOD_CLK_ENABLE();
  __HAL_RCC_GPIOG_CLK_ENABLE();

  /*Configure GPIO pin Output Level */
  HAL_GPIO_WritePin(GPIOE, MOTOR4_BREAK_Pin|MOTOR2_BREAK_Pin|MOTOR3_REVERSE_Pin|MOTOR2_REVERSE_Pin
                          |KICKER_CS_Pin|MOTOR4_REVERSE_Pin, GPIO_PIN_RESET);

  /*Configure GPIO pin Output Level */
  HAL_GPIO_WritePin(GPIOA, IMU_CS_Pin|IMU_INT1_Pin|IMU_INT2_Pin|IR_IN_Pin
                          |IR_OUT_Pin, GPIO_PIN_RESET);

  /*Configure GPIO pin Output Level */
  HAL_GPIO_WritePin(GPIOB, LED_GREEN_Pin|MOTOR1_BREAK_Pin|KICKER_CHARGE_Pin|KICKER_ERR_Pin
                          |LED_RED_Pin|MOTOR1_REVERSE_Pin|NRF_CSN_Pin, GPIO_PIN_RESET);

  /*Configure GPIO pin Output Level */
  HAL_GPIO_WritePin(GPIOB, KICKER_DISCHARGE2_Pin|KICKER_DISCHARGE1_Pin, GPIO_PIN_SET);

  /*Configure GPIO pin Output Level */
  HAL_GPIO_WritePin(GPIOD, MOTOR3_BREAK_Pin|MOTOR2_BREAKD13_Pin|EXT_LED1_RED_Pin|EXT_LED4_BLUE_Pin
                          |EXT_LED2_BLUE_Pin|DRIBBLER_Pin|EXT_LED3_WHITE_Pin|BUZZER_Pin, GPIO_PIN_RESET);

  /*Configure GPIO pin Output Level */
  HAL_GPIO_WritePin(NRF_CE_GPIO_Port, NRF_CE_Pin, GPIO_PIN_RESET);

  /*Configure GPIO pin Output Level */
  HAL_GPIO_WritePin(LED_YELLOW_GPIO_Port, LED_YELLOW_Pin, GPIO_PIN_SET);

  /*Configure GPIO pins : MOTOR4_BREAK_Pin MOTOR2_BREAK_Pin MOTOR3_REVERSE_Pin MOTOR2_REVERSE_Pin
                           KICKER_CS_Pin MOTOR4_REVERSE_Pin LED_YELLOW_Pin */
  GPIO_InitStruct.Pin = MOTOR4_BREAK_Pin|MOTOR2_BREAK_Pin|MOTOR3_REVERSE_Pin|MOTOR2_REVERSE_Pin
                          |KICKER_CS_Pin|MOTOR4_REVERSE_Pin|LED_YELLOW_Pin;
  GPIO_InitStruct.Mode = GPIO_MODE_OUTPUT_PP;
  GPIO_InitStruct.Pull = GPIO_NOPULL;
  GPIO_InitStruct.Speed = GPIO_SPEED_FREQ_LOW;
  HAL_GPIO_Init(GPIOE, &GPIO_InitStruct);

  /*Configure GPIO pin : BTN_USER_Pin */
  GPIO_InitStruct.Pin = BTN_USER_Pin;
  GPIO_InitStruct.Mode = GPIO_MODE_IT_RISING;
  GPIO_InitStruct.Pull = GPIO_NOPULL;
  HAL_GPIO_Init(BTN_USER_GPIO_Port, &GPIO_InitStruct);

  /*Configure GPIO pin : MOTOR4_ENCODER_Pin */
  GPIO_InitStruct.Pin = MOTOR4_ENCODER_Pin;
  GPIO_InitStruct.Mode = GPIO_MODE_INPUT;
  GPIO_InitStruct.Pull = GPIO_PULLDOWN;
  HAL_GPIO_Init(MOTOR4_ENCODER_GPIO_Port, &GPIO_InitStruct);

  /*Configure GPIO pins : IMU_CS_Pin IMU_INT1_Pin IMU_INT2_Pin IR_IN_Pin
                           IR_OUT_Pin */
  GPIO_InitStruct.Pin = IMU_CS_Pin|IMU_INT1_Pin|IMU_INT2_Pin|IR_IN_Pin
                          |IR_OUT_Pin;
  GPIO_InitStruct.Mode = GPIO_MODE_OUTPUT_PP;
  GPIO_InitStruct.Pull = GPIO_NOPULL;
  GPIO_InitStruct.Speed = GPIO_SPEED_FREQ_LOW;
  HAL_GPIO_Init(GPIOA, &GPIO_InitStruct);

  /*Configure GPIO pin : MOTOR3_ENCODER_Pin */
  GPIO_InitStruct.Pin = MOTOR3_ENCODER_Pin;
  GPIO_InitStruct.Mode = GPIO_MODE_INPUT;
  GPIO_InitStruct.Pull = GPIO_NOPULL;
  HAL_GPIO_Init(MOTOR3_ENCODER_GPIO_Port, &GPIO_InitStruct);

  /*Configure GPIO pins : LED_GREEN_Pin MOTOR1_BREAK_Pin KICKER_DISCHARGE2_Pin KICKER_CHARGE_Pin
                           KICKER_DISCHARGE1_Pin KICKER_ERR_Pin LED_RED_Pin MOTOR1_REVERSE_Pin
                           NRF_CSN_Pin */
  GPIO_InitStruct.Pin = LED_GREEN_Pin|MOTOR1_BREAK_Pin|KICKER_DISCHARGE2_Pin|KICKER_CHARGE_Pin
                          |KICKER_DISCHARGE1_Pin|KICKER_ERR_Pin|LED_RED_Pin|MOTOR1_REVERSE_Pin
                          |NRF_CSN_Pin;
  GPIO_InitStruct.Mode = GPIO_MODE_OUTPUT_PP;
  GPIO_InitStruct.Pull = GPIO_NOPULL;
  GPIO_InitStruct.Speed = GPIO_SPEED_FREQ_LOW;
  HAL_GPIO_Init(GPIOB, &GPIO_InitStruct);

  /*Configure GPIO pin : NRF_IRQ_Pin */
  GPIO_InitStruct.Pin = NRF_IRQ_Pin;
  GPIO_InitStruct.Mode = GPIO_MODE_IT_FALLING;
  GPIO_InitStruct.Pull = GPIO_NOPULL;
  HAL_GPIO_Init(NRF_IRQ_GPIO_Port, &GPIO_InitStruct);

  /*Configure GPIO pins : MOTOR3_BREAK_Pin MOTOR2_BREAKD13_Pin EXT_LED1_RED_Pin EXT_LED4_BLUE_Pin
                           EXT_LED2_BLUE_Pin DRIBBLER_Pin EXT_LED3_WHITE_Pin BUZZER_Pin */
  GPIO_InitStruct.Pin = MOTOR3_BREAK_Pin|MOTOR2_BREAKD13_Pin|EXT_LED1_RED_Pin|EXT_LED4_BLUE_Pin
                          |EXT_LED2_BLUE_Pin|DRIBBLER_Pin|EXT_LED3_WHITE_Pin|BUZZER_Pin;
  GPIO_InitStruct.Mode = GPIO_MODE_OUTPUT_PP;
  GPIO_InitStruct.Pull = GPIO_NOPULL;
  GPIO_InitStruct.Speed = GPIO_SPEED_FREQ_LOW;
  HAL_GPIO_Init(GPIOD, &GPIO_InitStruct);

  /*Configure GPIO pin : NRF_CE_Pin */
  GPIO_InitStruct.Pin = NRF_CE_Pin;
  GPIO_InitStruct.Mode = GPIO_MODE_OUTPUT_PP;
  GPIO_InitStruct.Pull = GPIO_NOPULL;
  GPIO_InitStruct.Speed = GPIO_SPEED_FREQ_LOW;
  HAL_GPIO_Init(NRF_CE_GPIO_Port, &GPIO_InitStruct);

  /*Configure GPIO pin : MOTOR1_ENCODER_Pin */
  GPIO_InitStruct.Pin = MOTOR1_ENCODER_Pin;
  GPIO_InitStruct.Mode = GPIO_MODE_INPUT;
  GPIO_InitStruct.Pull = GPIO_PULLDOWN;
  HAL_GPIO_Init(MOTOR1_ENCODER_GPIO_Port, &GPIO_InitStruct);

  /*Configure GPIO pin : MOTOR2_ENCODER_Pin */
  GPIO_InitStruct.Pin = MOTOR2_ENCODER_Pin;
  GPIO_InitStruct.Mode = GPIO_MODE_INPUT;
  GPIO_InitStruct.Pull = GPIO_NOPULL;
  HAL_GPIO_Init(MOTOR2_ENCODER_GPIO_Port, &GPIO_InitStruct);

  /* EXTI interrupt init*/
  HAL_NVIC_SetPriority(EXTI15_10_IRQn, 7, 0);
  HAL_NVIC_EnableIRQ(EXTI15_10_IRQn);

/* USER CODE BEGIN MX_GPIO_Init_2 */

    /* Configure IMU_SCL_Pin */
    GPIO_InitStruct.Pin = IMU_SCL_Pin;
    GPIO_InitStruct.Mode = GPIO_MODE_AF_OD;
    GPIO_InitStruct.Pull = GPIO_NOPULL; // Pullup resistor is on IMU board
    GPIO_InitStruct.Speed = GPIO_SPEED_FREQ_HIGH;
    GPIO_InitStruct.Alternate = GPIO_AF4_I2C4;
    HAL_GPIO_Init(IMU_SCL_GPIO_Port, &GPIO_InitStruct);

    /* Configure IMU_SDA_Pin */
    GPIO_InitStruct.Pin = IMU_SDA_Pin;
    GPIO_InitStruct.Mode = GPIO_MODE_AF_OD;
    GPIO_InitStruct.Pull = GPIO_NOPULL; // Pullup resistor is on IMU board
    GPIO_InitStruct.Speed = GPIO_SPEED_FREQ_HIGH;
    GPIO_InitStruct.Alternate = GPIO_AF4_I2C4;
    HAL_GPIO_Init(IMU_SDA_GPIO_Port, &GPIO_InitStruct);

/* USER CODE END MX_GPIO_Init_2 */
}

void Error_Handler(void)
{
  /* USER CODE BEGIN Error_Handler_Debug */
    HAL_GPIO_WritePin(LED_RED_GPIO_Port, LED_RED_Pin, GPIO_PIN_SET);
    /* User can add his own implementation to report the HAL error return state */
    __disable_irq();
    while (1) {
    }
  /* USER CODE END Error_Handler_Debug */
}
